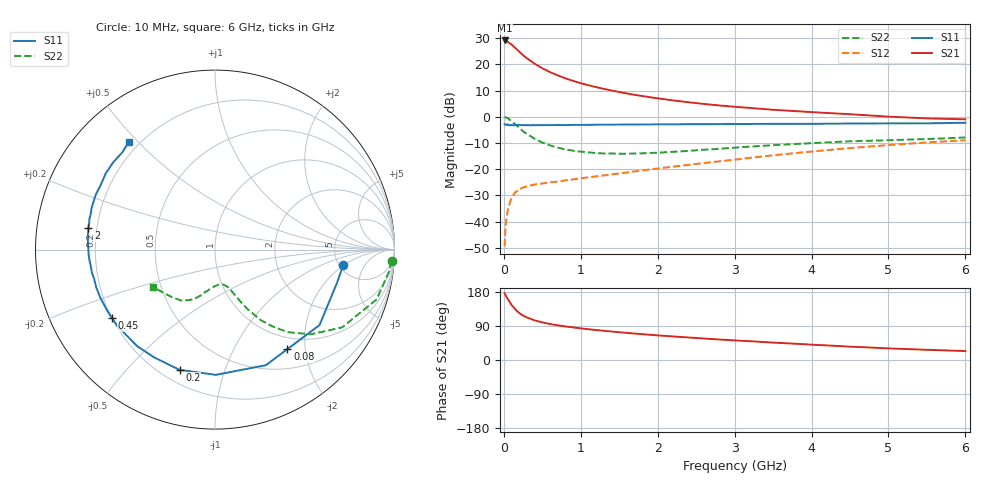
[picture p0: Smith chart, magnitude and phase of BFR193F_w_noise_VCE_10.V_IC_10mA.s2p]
! (c) 2017  Infineon Technologies AG, Munich
! Infineon Technologies  Discrete & RF Semiconductors
! BFR193F
! VCE =  10. V,  IC =  10 mA
! Common Emitter S-Parameters:  Jan 2017
# GHz  S  MA  R  50
!  f  S11  S21  S12  S22
! GHz  MAG  ANG  MAG  ANG  MAG  ANG  MAG  ANG
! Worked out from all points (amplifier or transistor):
!   77 points, 10 MHz to 6 GHz, reference 50 ohm
!   highest |S21| = 29.1 dB at 10 MHz (marker M1)
!   |S21| within 3 dB of that: start of sweep to 153.6 MHz
!   unconditionally stable (mu >= 1): 1.58 GHz to 2.848 GHz
!   at 130 MHz: K = 0.17, MSG = 28.2 dB, |S12| = -29.6 dB
!   at 2.2 GHz: K = 1.04, MAG = 11.4 dB, |S12| = -19.1 dB
!   at 6 GHz: K = 0.78, MSG = 4.0 dB, |S12| = -9.0 dB
!   lowest NFmin = 0.87 dB at 450 MHz
!   S11 on the Smith chart (normalised r, x): 10 MHz: 5.41, -1.94; 80 MHz: 0.80, -1.67; 200 MHz: 0.27, -0.71; 450 MHz: 0.20, -0.29; 2 GHz: 0.17, +0.08; 6 GHz: 0.16, +0.47
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0.01  0.7196 -6.9  28.47 176.3  0.0034 84.6  0.9857 -3.7
0.02  0.7046 -15.2  28.05 172.0  0.007 82.2  0.9784 -7.0
0.05  0.7185 -35.8  27.1 161.2  0.0161 75.0  0.9424 -17.1
0.08  0.6857 -54.0  24.96 152.0  0.0232 64.7  0.8688 -25.2
0.1  0.7037 -66.2  23.93 145.1  0.0282 60.8  0.8308 -31.4
0.15  0.6979 -89.6  20.38 133.1  0.0363 52.7  0.7123 -41.5
0.2  0.6986 -106.4  17.41 124.0  0.0412 46.7  0.6131 -48.6
0.25  0.6894 -119.3  14.9 117.2  0.0447 43.0  0.5297 -53.5
0.3  0.6911 -128.7  13 112.1  0.047 41.3  0.4686 -57.0
0.4  0.691 -142.1  10.24 104.4  0.0509 39.5  0.3792 -61.3
0.45  0.6887 -146.4  9.303 102.1  0.0521 39.6  0.3507 -62.5
0.6  0.6927 -157.3  7.098 94.9  0.0562 40.7  0.2842 -65.8
0.7  0.6944 -162.3  6.143 91.5  0.058 42.2  0.2576 -67.5
0.9  0.698 -169.7  4.83 86.0  0.0637 46.1  0.2247 -70.4
1.1  0.7013 -174.8  3.984 81.2  0.0697 49.7  0.2091 -74.0
1.5  0.7081 177.6  2.958 73.4  0.0831 56.6  0.1973 -81.8
2  0.7162 170.4  2.244 65.0  0.1029 62.8  0.2059 -91.6
2.1  0.7159 169.4  2.145 63.6  0.1072 63.8  0.2099 -93.2
3.1  0.727 159.2  1.509 50.7  0.1578 70.2  0.2631 -106.4
4.1  0.7336 149.2  1.202 39.5  0.2237 70.8  0.3183 -117.8
5.1  0.7468 138.2  0.989 29.9  0.2949 67.1  0.3605 -133.9
6  0.7672 128.9  0.893 23.6  0.3556 61.8  0.4023 -149.0
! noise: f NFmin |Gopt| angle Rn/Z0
0.45  0.87  0.25  139  0.07
0.9  1  0.38  152  0.07
1.9  1.7  0.59  -176  0.06
2.4  2.05  0.63  -165  0.08
